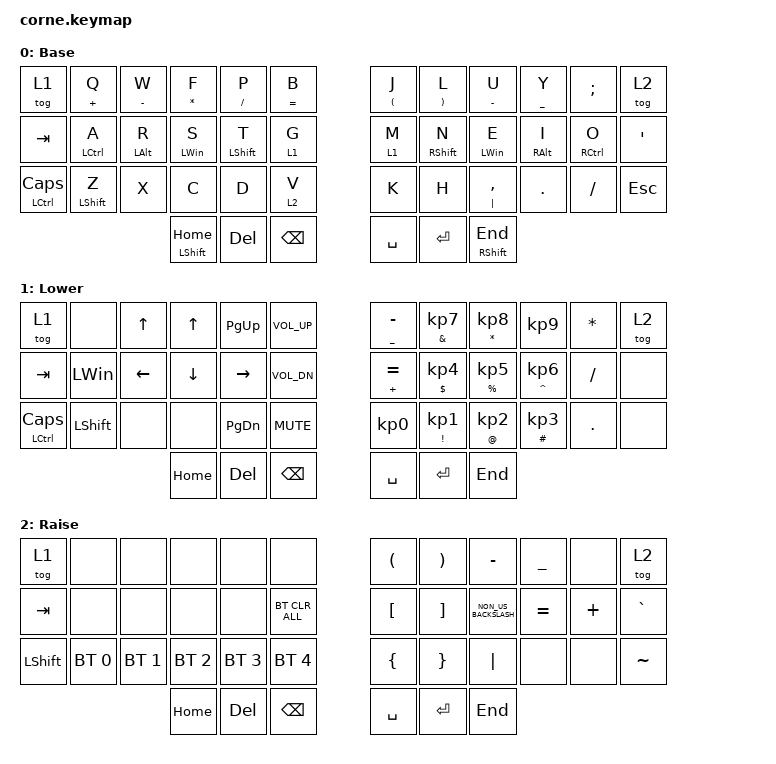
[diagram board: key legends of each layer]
/*
 * Copyright (c) 2020 The ZMK Contributors
 *
 * SPDX-License-Identifier: MIT
 */

#include <behaviors.dtsi>
#include <dt-bindings/zmk/bt.h>
#include <dt-bindings/zmk/keys.h>

/ {
    behaviors {
        HMR: HMR {
            compatible = "zmk,behavior-hold-tap";
            label = "HMR";
            bindings = <&kp>, <&kp>;

            #binding-cells = <2>;
            tapping-term-ms = <380>;
            quick-tap-ms = <250>;
            flavor = "tap-preferred";
            hold-trigger-on-release;
            hold-trigger-key-positions = <6 7 8 9 10 11 18 19 20 21 22 23 30 31 32 33 34 35 39 40 41>;
        };

        HML: HML {
            compatible = "zmk,behavior-hold-tap";
            label = "HML";
            bindings = <&kp>, <&kp>;

            #binding-cells = <2>;
            tapping-term-ms = <380>;
            quick-tap-ms = <250>;
            flavor = "tap-preferred";
            hold-trigger-on-release;
            hold-trigger-key-positions = <0 1 2 3 4 5 12 13 14 15 16 17 24 25 26 27 28 29 36 37 38>;
        };

        HL: HL {
            compatible = "zmk,behavior-hold-tap";
            label = "HL";
            bindings = <&mo>, <&kp>;

            #binding-cells = <2>;
            tapping-term-ms = <380>;
            quick-tap-ms = <250>;
            flavor = "tap-preferred";
            hold-trigger-key-positions = <5 17 18>;
        };
    };

    keymap {
        compatible = "zmk,keymap";

        default_layer {
            // -----------------------------------------------------------------------------------------
            // |  TAB |  Q  |  W  |  E  |  R  |  T  |   |  Y  |  U   |  I  |  O  |  P  | BKSP |
            // | CTRL |  A  |  S  |  D  |  F  |  G  |   |  H  |  J   |  K  |  L  |  ;  |  '   |
            // | SHFT |  Z  |  X  |  C  |  V  |  B  |   |  N  |  M   |  ,  |  .  |  /  | ESC  |
            //                    | GUI | LWR | SPC |   | ENT | RSE  | ALT |

            display-name = "Base";
            bindings = <
&tog 1           &mt PLUS Q        &mt MINUS W      &mt ASTERISK F        &mt SLASH P        &mt EQUAL B      &HMR LEFT_PARENTHESIS J  &HMR RIGHT_PARENTHESIS L  &HMR MINUS U          &HMR UNDER Y      &kp SEMICOLON  &tog 2
&kp TAB          &HML LCTRL A      &HML LEFT_ALT R  &HML LWIN S           &HML LEFT_SHIFT T  &HL 1 G          &HL 1 M                  &HMR RIGHT_SHIFT N        &HMR LEFT_WIN E       &HMR RIGHT_ALT I  &HMR RCTRL O   &kp SQT
&HML LCTRL CAPS  &mt LEFT_SHIFT Z  &kp X            &kp C                 &kp D              &HL 2 V          &kp K                    &kp H                     &HMR PIPE COMMA       &kp DOT           &kp FSLH       &kp ESCAPE
                                                    &HML LEFT_SHIFT HOME  &kp DEL            &kp BACKSPACE    &kp SPACE                &kp ENTER                 &HMR RIGHT_SHIFT END
            >;
        };

        lower_layer {
            // -----------------------------------------------------------------------------------------
            // |  TAB |  1  |  2  |  3  |  4  |  5  |   |  6  |  7  |  8  |  9  |  0  | BKSP |
            // | BTCLR| BT1 | BT2 | BT3 | BT4 | BT5 |   | LFT | DWN |  UP | RGT |     |      |
            // | SHFT |     |     |     |     |     |   |     |     |     |     |     |      |
            //                    | GUI |     | SPC |   | ENT |     | ALT |

            display-name = "Lower";
            bindings = <
&tog 1           &none         &kp UP_ARROW  &kp UP_ARROW  &kp PAGE_UP    &kp C_VOLUME_UP    &mt UNDERSCORE MINUS  &mt AMPERSAND KP_N7          &mt ASTERISK KP_N8  &kp KP_N9        &kp ASTERISK  &tog 2
&kp TAB          &kp LEFT_WIN  &kp LEFT      &kp DOWN      &kp RIGHT      &kp C_VOL_DN       &mt PLUS EQUAL        &mt DOLLAR KP_N4             &mt PERCENT KP_N5   &mt CARET KP_N6  &kp SLASH     &none
&HML LCTRL CAPS  &kp LSHIFT    &none         &none         &kp PAGE_DOWN  &kp K_MUTE         &kp KP_N0             &mt EXCLAMATION KP_NUMBER_1  &mt AT_SIGN KP_N2   &mt HASH KP_N3   &kp PERIOD    &none
                                             &kp HOME      &kp DEL        &kp BACKSPACE      &kp SPACE             &kp RETURN                   &kp END
            >;
        };

        raise_layer {
            // -----------------------------------------------------------------------------------------
            // |  TAB |  !  |  @  |  #  |  $  |  %  |   |  ^  |  &  |  *  |  (  |  )  | BKSP |
            // | CTRL |     |     |     |     |     |   |  -  |  =  |  [  |  ]  |  \  |  `   |
            // | SHFT |     |     |     |     |     |   |  _  |  +  |  {  |  }  | "|" |  ~   |
            //                    | GUI |     | SPC |   | ENT |     | ALT |

            display-name = "Raise";
            bindings = <
&tog 1     &none         &none         &none         &none         &none             &kp LEFT_PARENTHESIS  &kp RIGHT_PARENTHESIS  &kp MINUS             &kp UNDERSCORE  &none     &tog 2
&kp TAB    &none         &none         &none         &none         &bt BT_CLR_ALL    &kp LEFT_BRACKET      &kp RIGHT_BRACKET      &kp NON_US_BACKSLASH  &kp EQUAL       &kp PLUS  &kp GRAVE
&kp LSHFT  &bt BT_SEL 0  &bt BT_SEL 1  &bt BT_SEL 2  &bt BT_SEL 3  &bt BT_SEL 4      &kp LEFT_BRACE        &kp RIGHT_BRACE        &kp PIPE              &none           &none     &kp TILDE
                                       &kp HOME      &kp DELETE    &kp BACKSPACE     &kp SPACE             &kp RETURN             &kp END
            >;
        };
    };
};
